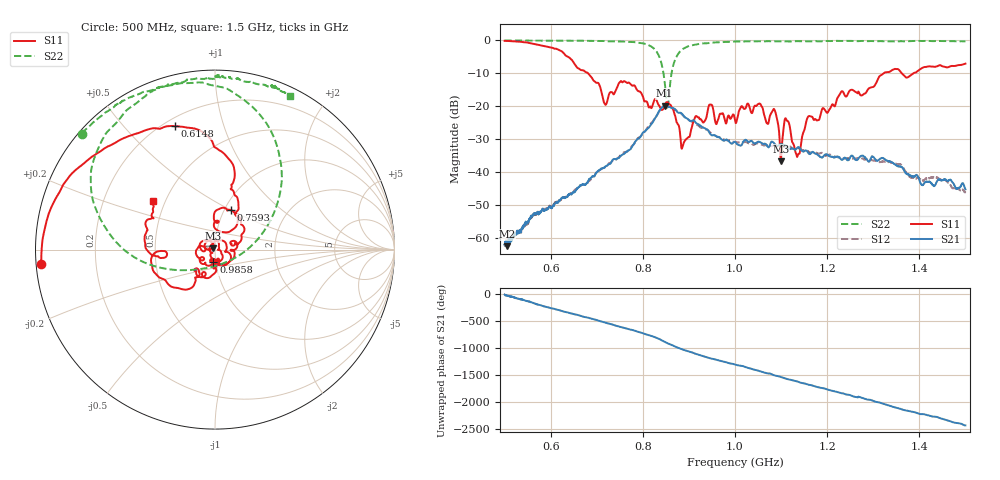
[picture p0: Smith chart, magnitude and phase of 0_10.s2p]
!Agilent Technologies,E8364B,US42250235,A.06.04.32
!Agilent E8364B: A.06.04.32
!Date: Thursday, October 01, 2020 14:19:38
!Correction: S11(Full 2 Port(1,2)) S21(Full 2 Port(1,2)) S12(Full 2 Port(1,2)) S22(Full 2 Port(1,2))
!S2P File: Measurements: S11, S21, S12, S22:
# Hz S  dB  R 50
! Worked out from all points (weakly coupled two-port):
!   2650 points, 500 MHz to 1.5 GHz, reference 50 ohm
!   highest |S21| = -19.94 dB at 847.3 MHz (marker M1); lowest = -62.6 dB at 505.3 MHz (marker M2)
!   lowest |S11| = -36.9 dB at 1.099 GHz (marker M3), VSWR 1.03, Z = 48.8 + j0.754 ohm
!   |S11| at or under -10 dB: 680.4 MHz to 1.324 GHz (643.2 MHz wide, 64.2 % of centre); 1.361 GHz to 1.388 GHz (27.19 MHz wide, 1.98 % of centre)
!   |S22| runs from -21.2 to -0.1 dB; largest |S21 - S12| = 0.0095
!   S11 on the Smith chart (normalised r, x): 500 MHz: 0.01, -0.04; 614.8 MHz: 0.24, +0.70; 759.3 MHz: 1.08, +0.50; 985.8 MHz: 0.97, -0.14; 1.5 GHz: 0.43, +0.29
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5e8  -0.25 -175.3  -62.02 -1.1  -61.90 4.2  -0.16 138.9
5.05285e8  -0.28 -178.1  -62.63 -18.5  -62.03 -7.3  -0.15 138.2
6.147603e8  -2.82 108.0  -49.23 75.1  -49.12 81.2  -0.19 124.5
6.668554e8  -9.17 75.3  -44.03 -43.6  -44.14 -40.4  -0.23 121.3
7.18573e8  -19.67 71.2  -38.46 -164.4  -38.54 -162.2  -0.34 113.8
7.593431e8  -12.51 67.8  -34.57 96.8  -34.14 95.0  -0.48 101.4
8.069083e8  -18.64 17.8  -27.44 -22.4  -27.29 -22.5  -1.26 81.3
8.337108e8  -19.62 -1.1  -21.97 -101.3  -22.14 -105.6  -4.46 52.0
8.473009e8  -20.14 -1.3  -19.94 -161.6  -19.96 -165.0  -12.66 11.5
8.544734e8  -18.96 -26.7  -20.30 168.9  -20.21 165.3  -20.52 -95.0
8.673084e8  -21.82 -73.6  -20.77 119.7  -21.02 115.8  -7.04 -174.0
8.854285e8  -32.74 -128.3  -22.45 58.1  -22.68 53.0  -2.87 159.5
9.462061e8  -19.63 -44.9  -28.51 -110.1  -28.08 -112.6  -0.88 125.7
9.858437e8  -22.93 -97.4  -30.65 162.5  -30.47 159.0  -0.56 115.0
1.000189e9  -24.55 -113.9  -31.01 133.9  -30.90 126.0  -0.47 112.8
1.084371e9  -20.94 158.5  -31.28 -64.0  -31.94 -67.8  -0.43 107.0
1.099471e9  -36.88 147.4  -31.67 -96.6  -32.40 -102.7  -0.39 105.5
1.112307e9  -24.47 124.1  -32.38 -133.5  -32.44 -135.4  -0.43 102.7
1.136844e9  -34.74 -1.8  -32.55 175.0  -32.85 166.1  -0.36 98.8
1.166667e9  -23.30 -79.4  -34.12 107.2  -34.08 98.9  -0.40 92.7
1.333522e9  -9.74 -148.7  -36.80 92.1  -37.06 69.9  -0.41 78.3
1.5e9  -7.18 141.7  -45.35 79.7  -46.21 54.8  -0.43 63.9
